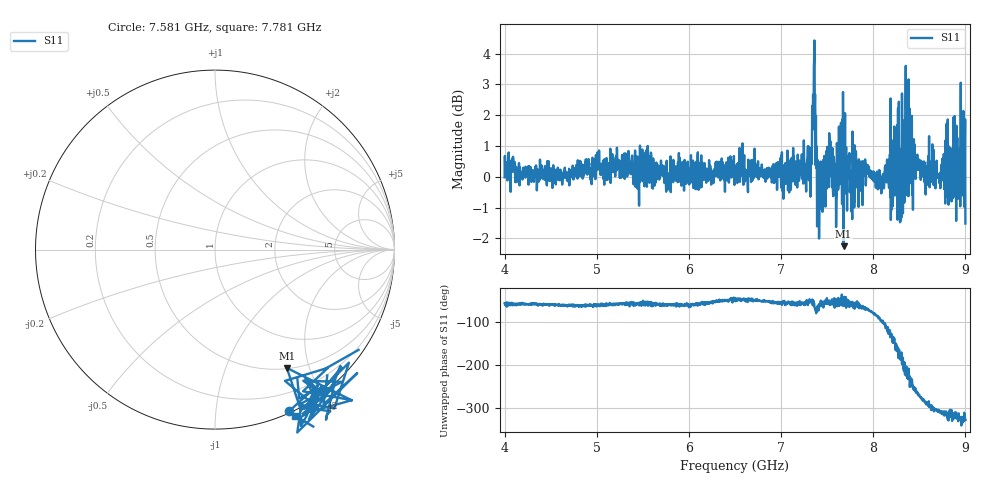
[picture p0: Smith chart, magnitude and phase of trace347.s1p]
! Created with skrf 1.8.0 (http://scikit-rf.org).
# Hz S RI R 50.0
!freq ReS11 ImS11
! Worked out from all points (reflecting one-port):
!   1601 points, 4 GHz to 9 GHz, reference 50 ohm
!   lowest |S11| = -2.3 dB at 7.678 GHz (marker M1), VSWR 7.75, Z = 25.5 - j83 ohm
!   phase of S11 starts at -55 deg and turns -272 deg over the sweep
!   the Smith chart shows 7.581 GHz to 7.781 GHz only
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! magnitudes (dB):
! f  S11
! 4 GHz  0.0
! 4.625 GHz  -0.3
! 5.25 GHz  0.0
! 5.875 GHz  0.3
! 6.5 GHz  0.2
! 7.125 GHz  0.3
! 7.294 GHz  0.3
! 7.319 GHz  -0.6
! 7.359 GHz  3.8
! 7.381 GHz  0.3
! 7.4 GHz  -0.1
! 7.428 GHz  0.5
! 7.509 GHz  0.0
! 7.578 GHz  -0.1
! 7.65 GHz  1.8
! 7.678 GHz  -2.3
! 7.75 GHz  -0.2
! 8.216 GHz  -0.4
! 8.253 GHz  -0.1
! 8.312 GHz  2.7
! 8.334 GHz  0.2
! 8.347 GHz  1.9
! 8.375 GHz  0.4
! 8.425 GHz  -0.1
! 8.556 GHz  -0.2
! 8.919 GHz  -0.5
! 8.972 GHz  0.9
! 9 GHz  -1.5
